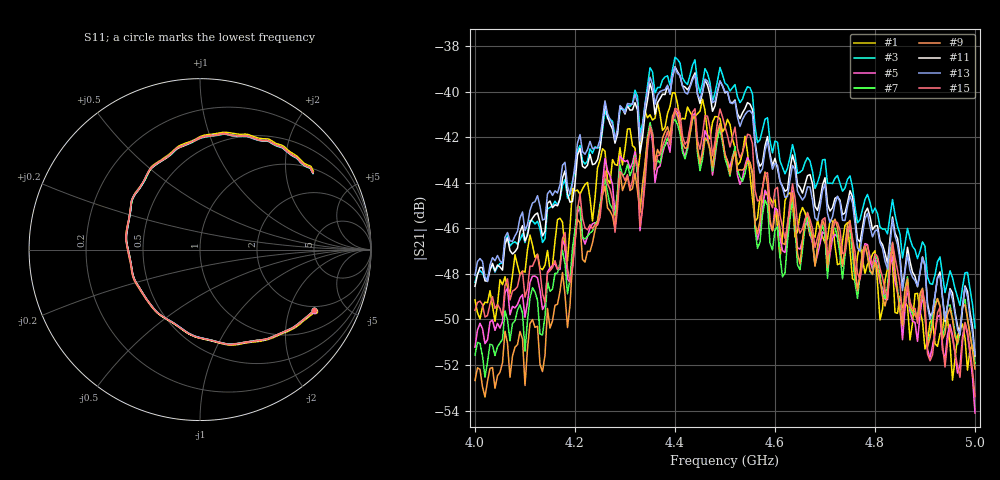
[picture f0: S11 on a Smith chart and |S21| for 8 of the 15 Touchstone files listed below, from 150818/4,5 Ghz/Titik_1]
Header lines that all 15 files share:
# Hz S RI R 50
! CMT, C1220, 16058040, 17.2.0/1
! Data: Format (Calibration Info)
! Freq  S11: Re/Im (F2)  S21: Re/Im (F2)  S12: Re/Im (F2)  S22: Re/Im (F2)
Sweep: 4 GHz to 5 GHz
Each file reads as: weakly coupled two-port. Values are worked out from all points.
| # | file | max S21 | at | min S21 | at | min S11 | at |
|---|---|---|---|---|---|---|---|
| 1 | Sudut_30_Titik_1.s2p | -40.05 dB | 4.4 GHz | -52.7 dB | 4.955 GHz | -7.7 dB | 4.365 GHz |
| 2 | Sudut_70_Titik_1.s2p | -38.67 dB | 4.44 GHz | -50.3 dB | 5 GHz | -7.7 dB | 4.36 GHz |
| 3 | Sudut_80_Titik_1.s2p | -38.49 dB | 4.4 GHz | -50.4 dB | 5 GHz | -7.7 dB | 4.36 GHz |
| 4 | Sudut_90_Titik_1.s2p | -38.34 dB | 4.4 GHz | -50.8 dB | 5 GHz | -7.7 dB | 4.36 GHz |
| 5 | Sudut_180_Titik_1.s2p | -40.80 dB | 4.4 GHz | -54.1 dB | 5 GHz | -7.7 dB | 4.36 GHz |
| 6 | Sudut_190_Titik_1.s2p | -40.96 dB | 4.44 GHz | -52.9 dB | 5 GHz | -7.7 dB | 4.36 GHz |
| 7 | Sudut_200_Titik_1.s2p | -41.07 dB | 4.44 GHz | -52.5 dB | 4.02 GHz | -7.7 dB | 4.36 GHz |
| 8 | Sudut_210_Titik_1.s2p | -40.80 dB | 4.44 GHz | -53.4 dB | 4.02 GHz | -7.7 dB | 4.36 GHz |
| 9 | Sudut_220_Titik_1.s2p | -40.86 dB | 4.4 GHz | -53.4 dB | 4.02 GHz | -7.6 dB | 4.36 GHz |
| 10 | Sudut_260_Titik_1.s2p | -39.21 dB | 4.4 GHz | -51.9 dB | 5 GHz | -7.7 dB | 4.36 GHz |
| 11 | Sudut_270_Titik_1.s2p | -38.91 dB | 4.4 GHz | -51.6 dB | 5 GHz | -7.7 dB | 4.36 GHz |
| 12 | Sudut_280_Titik_1.s2p | -38.68 dB | 4.4 GHz | -51.2 dB | 5 GHz | -7.7 dB | 4.36 GHz |
| 13 | Sudut_290_Titik_1.s2p | -38.94 dB | 4.4 GHz | -51.5 dB | 5 GHz | -7.7 dB | 4.36 GHz |
| 14 | Sudut_310_Titik_1.s2p | -39.28 dB | 4.405 GHz | -52.0 dB | 5 GHz | -7.7 dB | 4.36 GHz |
| 15 | Sudut_330_Titik_1.s2p | -40.74 dB | 4.4 GHz | -53.4 dB | 5 GHz | -7.7 dB | 4.36 GHz |
